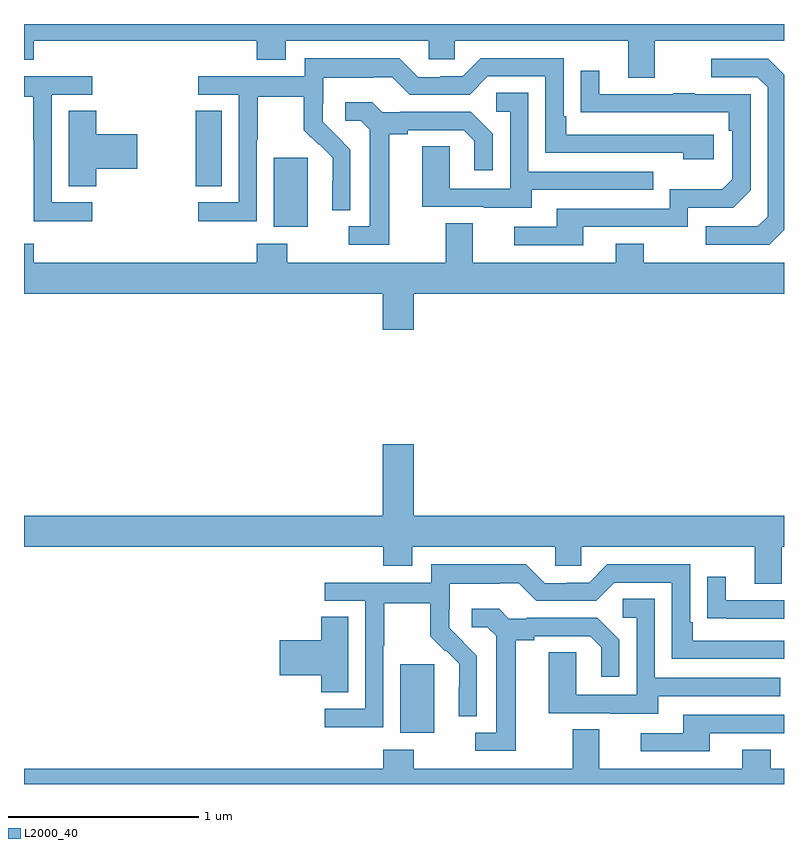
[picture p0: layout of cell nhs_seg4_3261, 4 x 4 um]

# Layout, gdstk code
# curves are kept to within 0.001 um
import gdstk
lib = gdstk.Library(unit=1e-6, precision=1e-09)
def R(c, l, rs):  # rectangles x0, y0, x1, y1
    for r in rs: c.add(gdstk.rectangle(r[:2], r[2:], *l))
def P(c, l, *ps):  # polygons
    for p in ps: c.add(gdstk.Polygon(p, *l))
L2000_40 = (2000, 40)

nhs_seg4_3261 = lib.new_cell('nhs_seg4_3261')
R(nhs_seg4_3261, L2000_40, [(284.981,801.17,285.16,801.531), (284.315,803.834,284.494,804.195), (283.903,804.046,284.041,804.443)])
P(nhs_seg4_3261, L2000_40, [(286.321,804.812),(287,804.812),(287,804.9),(283,804.9),(283,804.713),(283.052,804.713),(283.052,804.812),(284.225,804.812),(284.225,804.713),(284.377,804.713),(284.377,804.812),(285.129,804.812),(285.129,804.714),(285.267,804.714),(285.267,804.812),(286.181,804.812),(286.181,804.618),(286.321,804.618)],
  [(284.226,804.292),(284.229,804.292),(284.229,804.516),(284.473,804.516),(284.473,804.341),(284.55,804.264),(284.553,804.267),(284.624,804.197),(284.624,804.074),(284.622,804.074),(284.622,803.92),(284.718,803.92),(284.718,804.238),(284.572,804.386),(284.572,804.483),(284.574,804.483),(284.574,804.617),(284.837,804.617),(284.837,804.621),(284.937,804.621),(285.03,804.528),(285.345,804.528),(285.441,804.624),(285.744,804.624),(285.744,804.222),(286.469,804.222),(286.469,804.188),(286.63,804.188),(286.63,804.318),(285.853,804.318),(285.853,804.415),(285.84,804.415),(285.84,804.72),(285.405,804.72),(285.309,804.624),(285.191,804.624),(285.191,804.621),(285.075,804.621),(284.975,804.721),(284.478,804.721),(284.478,804.624),(283.917,804.624),(283.917,804.528),(284.13,804.528),(284.13,803.961),(283.917,803.961),(283.917,803.863),(284.226,803.863)],
  [(287,803.816),(287,804.634),(286.917,804.717),(286.617,804.717),(286.617,804.621),(286.86,804.621),(286.914,804.567),(286.914,803.886),(286.863,803.835),(286.587,803.835),(286.587,803.739),(286.923,803.739)],
  [(285.943,803.832),(286.494,803.832),(286.494,803.934),(286.734,803.934),(286.824,804.024),(286.824,804.531),(286.529,804.531),(286.529,804.536),(286.417,804.536),(286.417,804.531),(286.027,804.531),(286.027,804.655),(285.931,804.655),(285.931,804.436),(286.708,804.435),(286.708,804.338),(286.728,804.338),(286.728,804.084),(286.675,804.031),(286.398,804.031),(286.398,803.928),(285.803,803.928),(285.803,803.832),(285.579,803.832),(285.579,803.736),(285.943,803.736)],
  [(283.36,803.961),(283.146,803.961),(283.146,804.528),(283.36,804.528),(283.36,804.624),(283,804.624),(283,804.516),(283.048,804.516),(283.048,804.292),(283.05,804.292),(283.05,803.863),(283.36,803.863)],
  [(285.673,804.027),(286.313,804.027),(286.313,804.123),(285.654,804.123),(285.654,804.539),(285.486,804.539),(285.486,804.438),(285.558,804.438),(285.558,804.033),(285.24,804.033),(285.24,804.257),(285.095,804.257),(285.095,803.937),(285.419,803.937),(285.419,803.933),(285.673,803.933)],
  [(284.923,804.32),(285.019,804.32),(285.019,804.342),(285.314,804.342),(285.371,804.285),(285.371,804.129),(285.468,804.129),(285.468,804.322),(285.352,804.438),(284.98,804.438),(284.98,804.435),(284.886,804.435),(284.834,804.487),(284.691,804.487),(284.691,804.39),(284.772,804.39),(284.819,804.343),(284.819,803.835),(284.709,803.835),(284.709,803.739),(284.923,803.739)],
  [(283.379,804.137),(283.597,804.137),(283.597,804.32),(283.379,804.32),(283.379,804.443),(283.235,804.443),(283.235,804.046),(283.379,804.046)],
  [(285.052,803.48),(287,803.48),(287,803.644),(286.263,803.644),(286.263,803.743),(286.115,803.743),(286.115,803.644),(285.361,803.644),(285.361,803.852),(285.221,803.852),(285.221,803.644),(284.385,803.644),(284.385,803.743),(284.225,803.743),(284.225,803.644),(283.052,803.644),(283.052,803.743),(283,803.743),(283,803.48),(284.888,803.48),(284.888,803.292),(285.052,803.292)],
  [(286.987,802.148),(287,802.148),(287,802.312),(285.052,802.312),(285.052,802.687),(284.888,802.687),(284.888,802.312),(283,802.312),(283,802.148),(284.891,802.148),(284.891,802.049),(285.043,802.049),(285.043,802.148),(285.795,802.148),(285.795,802.05),(285.933,802.05),(285.933,802.148),(286.847,802.148),(286.847,801.954),(286.987,801.954)],
  [(284.892,801.628),(284.895,801.628),(284.895,801.852),(285.139,801.852),(285.139,801.677),(285.216,801.6),(285.219,801.603),(285.29,801.533),(285.29,801.41),(285.288,801.41),(285.288,801.256),(285.384,801.256),(285.384,801.574),(285.238,801.722),(285.238,801.819),(285.24,801.819),(285.24,801.953),(285.503,801.953),(285.503,801.957),(285.603,801.957),(285.696,801.864),(286.011,801.864),(286.107,801.96),(286.41,801.96),(286.41,801.558),(287,801.558),(287,801.654),(286.519,801.654),(286.519,801.751),(286.506,801.751),(286.506,802.056),(286.071,802.056),(285.975,801.96),(285.857,801.96),(285.857,801.957),(285.741,801.957),(285.641,802.057),(285.144,802.057),(285.144,801.96),(284.583,801.96),(284.583,801.864),(284.796,801.864),(284.796,801.297),(284.583,801.297),(284.583,801.199),(284.892,801.199)],
  [(287,801.867),(286.693,801.867),(286.693,801.991),(286.597,801.991),(286.597,801.772),(286.699,801.772),(286.699,801.771),(287,801.771)],
  [(286.339,801.363),(286.979,801.363),(286.979,801.459),(286.32,801.459),(286.32,801.875),(286.152,801.875),(286.152,801.774),(286.224,801.774),(286.224,801.369),(285.906,801.369),(285.906,801.593),(285.761,801.593),(285.761,801.273),(286.085,801.273),(286.085,801.269),(286.339,801.269)],
  [(285.589,801.656),(285.685,801.656),(285.685,801.678),(285.98,801.678),(286.037,801.621),(286.037,801.465),(286.134,801.465),(286.134,801.658),(286.018,801.774),(285.646,801.774),(285.646,801.771),(285.552,801.771),(285.5,801.823),(285.357,801.823),(285.357,801.726),(285.438,801.726),(285.485,801.679),(285.485,801.171),(285.375,801.171),(285.375,801.075),(285.589,801.075)],
  [(284.707,801.779),(284.564,801.779),(284.564,801.656),(284.346,801.656),(284.346,801.473),(284.564,801.473),(284.564,801.382),(284.707,801.382)],
  [(286.609,801.168),(287,801.168),(287,801.264),(286.469,801.264),(286.469,801.168),(286.245,801.168),(286.245,801.072),(286.609,801.072)],
  [(283,800.9),(287,800.9),(287,800.98),(286.929,800.98),(286.929,801.079),(286.781,801.079),(286.781,800.98),(286.027,800.98),(286.027,801.188),(285.887,801.188),(285.887,800.98),(285.051,800.98),(285.051,801.079),(284.891,801.079),(284.891,800.98),(283,800.98)])

lib.write_gds('nhs_seg4_3261.gds')
